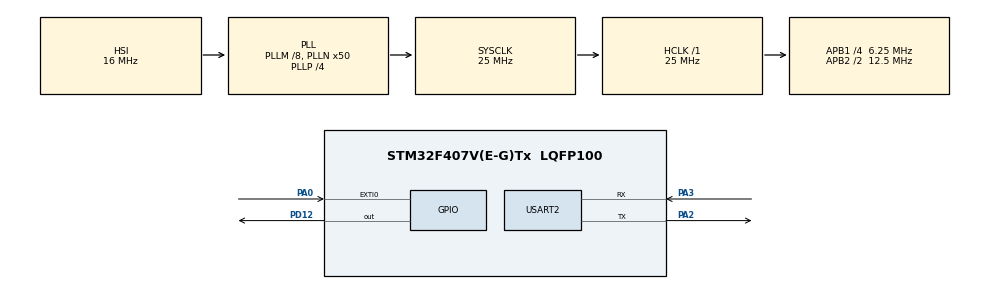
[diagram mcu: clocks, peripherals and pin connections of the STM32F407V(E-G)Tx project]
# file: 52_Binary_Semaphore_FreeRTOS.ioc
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FREERTOS.BinarySemaphores01=BinarySem,Dynamic,NULL,Available
FREERTOS.Tasks01=ledTask,24,128,StartLEDTask,Default,NULL,Dynamic,NULL,NULL;buttonTask,8,128,StartButtonTask,Default,NULL,Dynamic,NULL,NULL
Mcu.Family=STM32F4
Mcu.Name=STM32F407V(E-G)Tx
Mcu.Package=LQFP100
NVIC.PriorityGroup=NVIC_PRIORITYGROUP_4
PA0-WKUP.Signal=GPXTI0
PA2.Mode=Asynchronous
PA2.Signal=USART2_TX
PA3.Mode=Asynchronous
PA3.Signal=USART2_RX
PD12.Signal=GPIO_Output
PH0-OSC_IN.Mode=HSE-External-Oscillator
PH0-OSC_IN.Signal=RCC_OSC_IN
PH1-OSC_OUT.Mode=HSE-External-Oscillator
PH1-OSC_OUT.Signal=RCC_OSC_OUT
ProjectManager.HeapSize=0x200
ProjectManager.StackSize=0x400
ProjectManager.TargetToolchain=STM32CubeIDE
RCC.48MHZClocksFreq_Value=14285714.285714285
RCC.AHBFreq_Value=25000000
RCC.APB1CLKDivider=RCC_HCLK_DIV4
RCC.APB1Freq_Value=6250000
RCC.APB1TimFreq_Value=12500000
RCC.APB2CLKDivider=RCC_HCLK_DIV2
RCC.APB2Freq_Value=12500000
RCC.APB2TimFreq_Value=25000000
RCC.CortexFreq_Value=25000000
RCC.HCLKFreq_Value=25000000
RCC.HSE_VALUE=8000000
RCC.HSI_VALUE=16000000
RCC.LSE_VALUE=32768
RCC.PLLM=8
RCC.PLLN=50
RCC.PLLP=RCC_PLLP_DIV4
RCC.PLLQ=7
RCC.SYSCLKFreq_VALUE=25000000
RCC.SYSCLKSource=RCC_SYSCLKSOURCE_PLLCLK
RCC.VCOOutputFreq_Value=100000000
USART2.VirtualMode=VM_ASYNC
VP_FREERTOS_VS_CMSIS_V2.Mode=CMSIS_V2
board=STM32F407G-DISC1

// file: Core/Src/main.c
/* USER CODE BEGIN Header */
/**
 ******************************************************************************
 * @file           : main.c
 * @brief          : Main program body
 ******************************************************************************
 * @attention
 *
 * Copyright (c) 2026 STMicroelectronics.
 * All rights reserved.
 *
 * This software is licensed under terms that can be found in the LICENSE file
 * in the root directory of this software component.
 * If no LICENSE file comes with this software, it is provided AS-IS.
 *
 ******************************************************************************
 */
/* USER CODE END Header */
#include "main.h"
#include "cmsis_os.h"

/* USER CODE BEGIN Includes */
#include <stdio.h>

/* USER CODE END Includes */

UART_HandleTypeDef huart2;

/* Definitions for ledTask */
osThreadId_t ledTaskHandle;
const osThreadAttr_t ledTask_attributes = {
		.name = "ledTask",
		.stack_size = 128 * 4,
		.priority = (osPriority_t) osPriorityNormal,
};
/* Definitions for buttonTask */
osThreadId_t buttonTaskHandle;
const osThreadAttr_t buttonTask_attributes = {
		.name = "buttonTask",
		.stack_size = 128 * 4,
		.priority = (osPriority_t) osPriorityLow,
};
/* Definitions for BinarySem */
osSemaphoreId_t BinarySemHandle;
const osSemaphoreAttr_t BinarySem_attributes = {
		.name = "BinarySem"
};

void SystemClock_Config(void);
static void MX_GPIO_Init(void);
static void MX_USART2_UART_Init(void);
void StartLEDTask(void *argument);
void StartButtonTask(void *argument);

/* USER CODE BEGIN 0 */
extern UART_HandleTypeDef huart2;

int __io_putchar(int ch)
{
	HAL_UART_Transmit(&huart2,
			(uint8_t*)&ch,
			1,
			HAL_MAX_DELAY);

	return ch;
}
/* USER CODE END 0 */

int main(void)
{

	/* MCU Configuration--------------------------------------------------------*/

	/* Reset of all peripherals, Initializes the Flash interface and the Systick. */
	HAL_Init();

	/* Configure the system clock */
	SystemClock_Config();

	/* Initialize all configured peripherals */
	MX_GPIO_Init();
	MX_USART2_UART_Init();

	/* Init scheduler */
	osKernelInitialize();

	/* Create the semaphores(s) */
	/* creation of BinarySem */
	BinarySemHandle = osSemaphoreNew(1, 1, &BinarySem_attributes);

	/* Create the thread(s) */
	/* creation of ledTask */
	ledTaskHandle = osThreadNew(StartLEDTask, NULL, &ledTask_attributes);

	/* creation of buttonTask */
	buttonTaskHandle = osThreadNew(StartButtonTask, NULL, &buttonTask_attributes);

	/* Start scheduler */
	osKernelStart();

	/* We should never get here as control is now taken by the scheduler */

	/* Infinite loop */
	while (1)
	{

	}
}

void SystemClock_Config(void)
{
	RCC_OscInitTypeDef RCC_OscInitStruct = {0};
	RCC_ClkInitTypeDef RCC_ClkInitStruct = {0};

	/** Configure the main internal regulator output voltage
	 */
	__HAL_RCC_PWR_CLK_ENABLE();
	__HAL_PWR_VOLTAGESCALING_CONFIG(PWR_REGULATOR_VOLTAGE_SCALE1);

	/** Initializes the RCC Oscillators according to the specified parameters
	 * in the RCC_OscInitTypeDef structure.
	 */
	RCC_OscInitStruct.OscillatorType = RCC_OSCILLATORTYPE_HSI;
	RCC_OscInitStruct.HSIState = RCC_HSI_ON;
	RCC_OscInitStruct.HSICalibrationValue = RCC_HSICALIBRATION_DEFAULT;
	RCC_OscInitStruct.PLL.PLLState = RCC_PLL_ON;
	RCC_OscInitStruct.PLL.PLLSource = RCC_PLLSOURCE_HSI;
	RCC_OscInitStruct.PLL.PLLM = 8;
	RCC_OscInitStruct.PLL.PLLN = 50;
	RCC_OscInitStruct.PLL.PLLP = RCC_PLLP_DIV4;
	RCC_OscInitStruct.PLL.PLLQ = 7;
	if (HAL_RCC_OscConfig(&RCC_OscInitStruct) != HAL_OK)
	{
		Error_Handler();
	}

	/** Initializes the CPU, AHB and APB buses clocks
	 */
	RCC_ClkInitStruct.ClockType = RCC_CLOCKTYPE_HCLK|RCC_CLOCKTYPE_SYSCLK
			|RCC_CLOCKTYPE_PCLK1|RCC_CLOCKTYPE_PCLK2;
	RCC_ClkInitStruct.SYSCLKSource = RCC_SYSCLKSOURCE_PLLCLK;
	RCC_ClkInitStruct.AHBCLKDivider = RCC_SYSCLK_DIV1;
	RCC_ClkInitStruct.APB1CLKDivider = RCC_HCLK_DIV4;
	RCC_ClkInitStruct.APB2CLKDivider = RCC_HCLK_DIV2;

	if (HAL_RCC_ClockConfig(&RCC_ClkInitStruct, FLASH_LATENCY_0) != HAL_OK)
	{
		Error_Handler();
	}
}

static void MX_USART2_UART_Init(void)
{

	huart2.Instance = USART2;
	huart2.Init.BaudRate = 115200;
	huart2.Init.WordLength = UART_WORDLENGTH_8B;
	huart2.Init.StopBits = UART_STOPBITS_1;
	huart2.Init.Parity = UART_PARITY_NONE;
	huart2.Init.Mode = UART_MODE_TX_RX;
	huart2.Init.HwFlowCtl = UART_HWCONTROL_NONE;
	huart2.Init.OverSampling = UART_OVERSAMPLING_16;
	if (HAL_UART_Init(&huart2) != HAL_OK)
	{
		Error_Handler();
	}

}

static void MX_GPIO_Init(void)
{
	GPIO_InitTypeDef GPIO_InitStruct = {0};

	/* GPIO Ports Clock Enable */
	__HAL_RCC_GPIOH_CLK_ENABLE();
	__HAL_RCC_GPIOA_CLK_ENABLE();
	__HAL_RCC_GPIOD_CLK_ENABLE();

	/*Configure GPIO pin Output Level */
	HAL_GPIO_WritePin(GPIOD, GPIO_PIN_12, GPIO_PIN_RESET);

	/*Configure GPIO pin : PA0 */
	GPIO_InitStruct.Pin = GPIO_PIN_0;
	GPIO_InitStruct.Mode = GPIO_MODE_IT_RISING;
	GPIO_InitStruct.Pull = GPIO_NOPULL;
	HAL_GPIO_Init(GPIOA, &GPIO_InitStruct);

	/*Configure GPIO pin : PD12 */
	GPIO_InitStruct.Pin = GPIO_PIN_12;
	GPIO_InitStruct.Mode = GPIO_MODE_OUTPUT_PP;
	GPIO_InitStruct.Pull = GPIO_NOPULL;
	GPIO_InitStruct.Speed = GPIO_SPEED_FREQ_LOW;
	HAL_GPIO_Init(GPIOD, &GPIO_InitStruct);

}

void StartLEDTask(void *argument)
{
	/* USER CODE BEGIN 5 */
	/* Infinite loop */
	for(;;)
	{
		printf("LED Task Waiting...\r\n");

		osSemaphoreAcquire(BinarySemHandle,
				osWaitForever);

		printf("Semaphore Acquired\r\n");

		HAL_GPIO_TogglePin(GPIOD,
				GPIO_PIN_12);

		printf("LED Toggled\r\n");
	}
	/* USER CODE END 5 */
}

void StartButtonTask(void *argument)
{
	/* USER CODE BEGIN StartButtonTask */
	/* Infinite loop */
	uint8_t prevState = 0;

	for(;;)
	{
		uint8_t currState =
				HAL_GPIO_ReadPin(GPIOA, GPIO_PIN_0);

		if(currState && !prevState)
		{
			printf("Button Pressed\r\n");

			osSemaphoreRelease(BinarySemHandle);

			printf("Semaphore Released\r\n");
		}

		prevState = currState;

		osDelay(20);
	}
	/* USER CODE END StartButtonTask */
}

void Error_Handler(void)
{
	__disable_irq();
	while (1)
	{
	}
}
